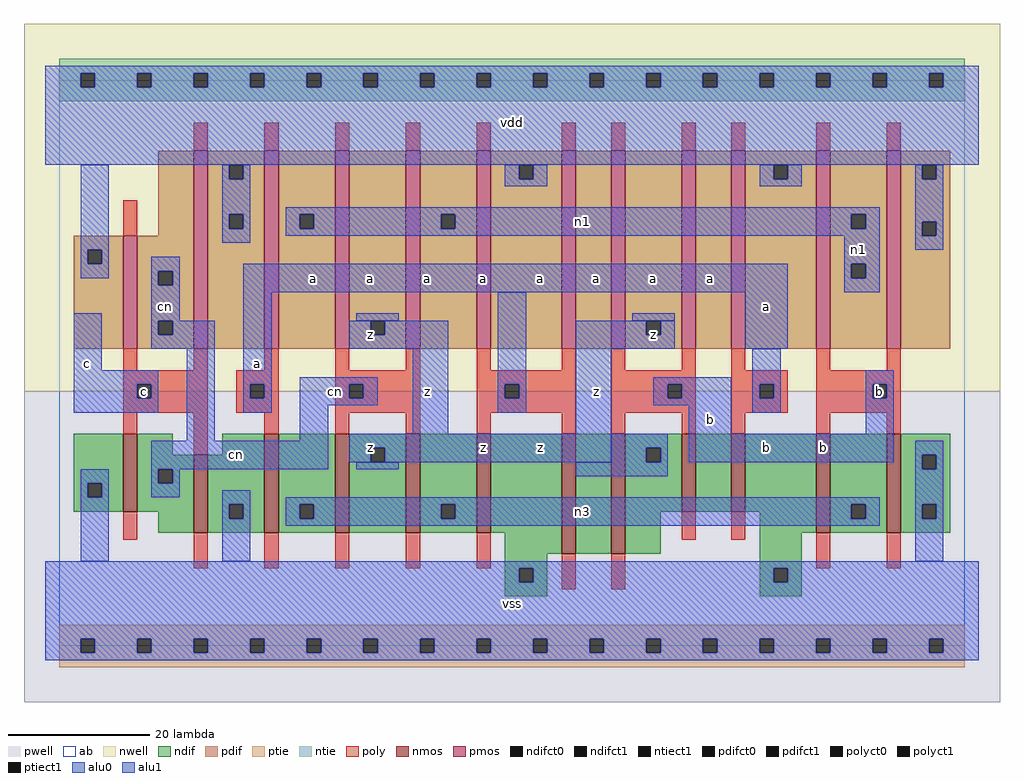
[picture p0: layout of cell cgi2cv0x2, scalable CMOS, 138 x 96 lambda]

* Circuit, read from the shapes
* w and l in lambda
.subckt cgi2cv0x2 a b c cn n1 n3 vdd vss z
M1 cn c vss vss nfet w=11 l=2 m=2
M2 n3 a vss vss nfet w=14 l=2 m=2
M3 z cn n3 vss nfet w=14 l=2 m=2
M4 n2 a vss vss nfet w=17 l=2
M5 z b n2 vss nfet w=17 l=2
M6 n4 b z vss nfet w=11 l=2
M7 vss a n4 vss nfet w=11 l=2
M8 n3 b vss vss nfet w=14 l=2 m=2
M9 cn c vdd vdd pfet w=16 l=2
M10 vdd c cn vdd pfet w=28 l=2
M11 n1 a vdd vdd pfet w=28 l=2 m=2
M12 z cn n1 vdd pfet w=28 l=2 m=2
M13 n5 a vdd vdd pfet w=28 l=2
M14 z b n5 vdd pfet w=28 l=2
M15 n6 b z vdd pfet w=28 l=2
M16 vdd a n6 vdd pfet w=28 l=2
M17 n1 b vdd vdd pfet w=28 l=2 m=2
.ends

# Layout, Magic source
magic
tech scmos
<< ab >>
rect 0 0 128 80
<< nwell >>
rect -5 36 133 88
<< pwell >>
rect -5 -8 133 36
<< poly >>
rect 19 70 21 74
rect 29 70 31 74
rect 39 70 41 74
rect 49 70 51 74
rect 59 70 61 74
rect 71 70 73 74
rect 78 70 80 74
rect 88 70 90 74
rect 95 70 97 74
rect 107 70 109 74
rect 117 70 119 74
rect 9 58 11 63
rect 9 39 11 42
rect 19 39 21 42
rect 29 39 31 42
rect 9 37 21 39
rect 9 35 11 37
rect 13 35 21 37
rect 9 33 21 35
rect 25 37 31 39
rect 25 35 27 37
rect 29 35 31 37
rect 25 33 31 35
rect 9 30 11 33
rect 19 27 21 33
rect 29 30 31 33
rect 39 39 41 42
rect 49 39 51 42
rect 39 37 51 39
rect 39 35 41 37
rect 43 35 51 37
rect 39 33 51 35
rect 39 30 41 33
rect 49 30 51 33
rect 59 39 61 42
rect 71 39 73 42
rect 59 37 73 39
rect 59 35 63 37
rect 65 35 73 37
rect 59 33 73 35
rect 59 30 61 33
rect 71 30 73 33
rect 78 39 80 42
rect 88 39 90 42
rect 78 37 90 39
rect 78 35 86 37
rect 88 35 90 37
rect 78 33 90 35
rect 78 30 80 33
rect 88 30 90 33
rect 95 39 97 42
rect 107 39 109 42
rect 117 39 119 42
rect 95 37 103 39
rect 95 35 99 37
rect 101 35 103 37
rect 95 33 103 35
rect 107 37 119 39
rect 107 35 115 37
rect 117 35 119 37
rect 107 33 119 35
rect 95 30 97 33
rect 107 30 109 33
rect 117 30 119 33
rect 9 15 11 19
rect 19 11 21 16
rect 29 11 31 16
rect 39 11 41 16
rect 49 11 51 16
rect 59 11 61 16
rect 88 15 90 19
rect 95 15 97 19
rect 71 8 73 13
rect 78 8 80 13
rect 107 11 109 16
rect 117 11 119 16
<< ndif >>
rect 2 23 9 30
rect 2 21 4 23
rect 6 21 9 23
rect 2 19 9 21
rect 11 27 16 30
rect 23 27 29 30
rect 11 25 19 27
rect 11 23 14 25
rect 16 23 19 25
rect 11 19 19 23
rect 14 16 19 19
rect 21 20 29 27
rect 21 18 24 20
rect 26 18 29 20
rect 21 16 29 18
rect 31 20 39 30
rect 31 18 34 20
rect 36 18 39 20
rect 31 16 39 18
rect 41 28 49 30
rect 41 26 44 28
rect 46 26 49 28
rect 41 16 49 26
rect 51 20 59 30
rect 51 18 54 20
rect 56 18 59 20
rect 51 16 59 18
rect 61 16 71 30
rect 63 13 71 16
rect 73 13 78 30
rect 80 28 88 30
rect 80 26 83 28
rect 85 26 88 28
rect 80 19 88 26
rect 90 19 95 30
rect 97 19 107 30
rect 80 13 85 19
rect 99 16 107 19
rect 109 20 117 30
rect 109 18 112 20
rect 114 18 117 20
rect 109 16 117 18
rect 119 27 126 30
rect 119 25 122 27
rect 124 25 126 27
rect 119 20 126 25
rect 119 18 122 20
rect 124 18 126 20
rect 119 16 126 18
rect 63 11 69 13
rect 63 9 65 11
rect 67 9 69 11
rect 63 7 69 9
rect 99 11 105 16
rect 99 9 101 11
rect 103 9 105 11
rect 99 7 105 9
<< pdif >>
rect 14 58 19 70
rect 2 56 9 58
rect 2 54 4 56
rect 6 54 9 56
rect 2 42 9 54
rect 11 53 19 58
rect 11 51 14 53
rect 16 51 19 53
rect 11 46 19 51
rect 11 44 14 46
rect 16 44 19 46
rect 11 42 19 44
rect 21 68 29 70
rect 21 66 24 68
rect 26 66 29 68
rect 21 61 29 66
rect 21 59 24 61
rect 26 59 29 61
rect 21 42 29 59
rect 31 61 39 70
rect 31 59 34 61
rect 36 59 39 61
rect 31 42 39 59
rect 41 46 49 70
rect 41 44 44 46
rect 46 44 49 46
rect 41 42 49 44
rect 51 61 59 70
rect 51 59 54 61
rect 56 59 59 61
rect 51 42 59 59
rect 61 68 71 70
rect 61 66 65 68
rect 67 66 71 68
rect 61 42 71 66
rect 73 42 78 70
rect 80 46 88 70
rect 80 44 83 46
rect 85 44 88 46
rect 80 42 88 44
rect 90 42 95 70
rect 97 68 107 70
rect 97 66 101 68
rect 103 66 107 68
rect 97 42 107 66
rect 109 61 117 70
rect 109 59 112 61
rect 114 59 117 61
rect 109 54 117 59
rect 109 52 112 54
rect 114 52 117 54
rect 109 42 117 52
rect 119 68 126 70
rect 119 66 122 68
rect 124 66 126 68
rect 119 60 126 66
rect 119 58 122 60
rect 124 58 126 60
rect 119 42 126 58
<< alu1 >>
rect -2 81 130 82
rect -2 79 3 81
rect 5 79 11 81
rect 13 79 19 81
rect 21 79 27 81
rect 29 79 35 81
rect 37 79 43 81
rect 45 79 51 81
rect 53 79 59 81
rect 61 79 67 81
rect 69 79 75 81
rect 77 79 83 81
rect 85 79 91 81
rect 93 79 99 81
rect 101 79 107 81
rect 109 79 115 81
rect 117 79 123 81
rect 125 79 130 81
rect -2 68 130 79
rect 2 39 6 47
rect 26 50 103 54
rect 2 37 14 39
rect 2 35 11 37
rect 13 35 14 37
rect 2 33 14 35
rect 26 37 30 50
rect 41 44 44 46
rect 46 44 55 46
rect 41 42 55 44
rect 26 35 27 37
rect 29 35 30 37
rect 26 33 30 35
rect 50 30 55 42
rect 73 44 83 46
rect 85 44 87 46
rect 73 42 87 44
rect 97 42 103 50
rect 73 30 78 42
rect 84 37 95 38
rect 84 35 86 37
rect 88 35 95 37
rect 84 34 95 35
rect 89 30 95 34
rect 114 37 118 39
rect 114 35 115 37
rect 117 35 118 37
rect 114 30 118 35
rect 41 28 78 30
rect 41 26 44 28
rect 46 26 78 28
rect 89 26 118 30
rect -2 11 130 12
rect -2 9 65 11
rect 67 9 101 11
rect 103 9 130 11
rect -2 1 130 9
rect -2 -1 3 1
rect 5 -1 11 1
rect 13 -1 19 1
rect 21 -1 27 1
rect 29 -1 35 1
rect 37 -1 43 1
rect 45 -1 51 1
rect 53 -1 59 1
rect 61 -1 67 1
rect 69 -1 75 1
rect 77 -1 83 1
rect 85 -1 91 1
rect 93 -1 99 1
rect 101 -1 107 1
rect 109 -1 115 1
rect 117 -1 123 1
rect 125 -1 130 1
rect -2 -2 130 -1
<< ptie >>
rect 0 1 128 3
rect 0 -1 3 1
rect 5 -1 11 1
rect 13 -1 19 1
rect 21 -1 27 1
rect 29 -1 35 1
rect 37 -1 43 1
rect 45 -1 51 1
rect 53 -1 59 1
rect 61 -1 67 1
rect 69 -1 75 1
rect 77 -1 83 1
rect 85 -1 91 1
rect 93 -1 99 1
rect 101 -1 107 1
rect 109 -1 115 1
rect 117 -1 123 1
rect 125 -1 128 1
rect 0 -3 128 -1
<< ntie >>
rect 0 81 128 83
rect 0 79 3 81
rect 5 79 11 81
rect 13 79 19 81
rect 21 79 27 81
rect 29 79 35 81
rect 37 79 43 81
rect 45 79 51 81
rect 53 79 59 81
rect 61 79 67 81
rect 69 79 75 81
rect 77 79 83 81
rect 85 79 91 81
rect 93 79 99 81
rect 101 79 107 81
rect 109 79 115 81
rect 117 79 123 81
rect 125 79 128 81
rect 0 77 128 79
<< nmos >>
rect 9 19 11 30
rect 19 16 21 27
rect 29 16 31 30
rect 39 16 41 30
rect 49 16 51 30
rect 59 16 61 30
rect 71 13 73 30
rect 78 13 80 30
rect 88 19 90 30
rect 95 19 97 30
rect 107 16 109 30
rect 117 16 119 30
<< pmos >>
rect 9 42 11 58
rect 19 42 21 70
rect 29 42 31 70
rect 39 42 41 70
rect 49 42 51 70
rect 59 42 61 70
rect 71 42 73 70
rect 78 42 80 70
rect 88 42 90 70
rect 95 42 97 70
rect 107 42 109 70
rect 117 42 119 70
<< polyct0 >>
rect 41 35 43 37
rect 63 35 65 37
rect 99 35 101 37
<< polyct1 >>
rect 11 35 13 37
rect 27 35 29 37
rect 86 35 88 37
rect 115 35 117 37
<< ndifct0 >>
rect 4 21 6 23
rect 14 23 16 25
rect 24 18 26 20
rect 34 18 36 20
rect 54 18 56 20
rect 83 26 85 28
rect 112 18 114 20
rect 122 25 124 27
rect 122 18 124 20
<< ndifct1 >>
rect 44 26 46 28
rect 65 9 67 11
rect 101 9 103 11
<< ntiect1 >>
rect 3 79 5 81
rect 11 79 13 81
rect 19 79 21 81
rect 27 79 29 81
rect 35 79 37 81
rect 43 79 45 81
rect 51 79 53 81
rect 59 79 61 81
rect 67 79 69 81
rect 75 79 77 81
rect 83 79 85 81
rect 91 79 93 81
rect 99 79 101 81
rect 107 79 109 81
rect 115 79 117 81
rect 123 79 125 81
<< ptiect1 >>
rect 3 -1 5 1
rect 11 -1 13 1
rect 19 -1 21 1
rect 27 -1 29 1
rect 35 -1 37 1
rect 43 -1 45 1
rect 51 -1 53 1
rect 59 -1 61 1
rect 67 -1 69 1
rect 75 -1 77 1
rect 83 -1 85 1
rect 91 -1 93 1
rect 99 -1 101 1
rect 107 -1 109 1
rect 115 -1 117 1
rect 123 -1 125 1
<< pdifct0 >>
rect 4 54 6 56
rect 14 51 16 53
rect 14 44 16 46
rect 24 66 26 68
rect 24 59 26 61
rect 34 59 36 61
rect 54 59 56 61
rect 65 66 67 68
rect 101 66 103 68
rect 112 59 114 61
rect 112 52 114 54
rect 122 66 124 68
rect 122 58 124 60
<< pdifct1 >>
rect 44 44 46 46
rect 83 44 85 46
<< alu0 >>
rect 3 56 7 68
rect 23 66 24 68
rect 26 66 27 68
rect 23 61 27 66
rect 63 66 65 68
rect 67 66 69 68
rect 63 65 69 66
rect 99 66 101 68
rect 103 66 105 68
rect 99 65 105 66
rect 121 66 122 68
rect 124 66 125 68
rect 23 59 24 61
rect 26 59 27 61
rect 23 57 27 59
rect 32 61 116 62
rect 32 59 34 61
rect 36 59 54 61
rect 56 59 112 61
rect 114 59 116 61
rect 32 58 116 59
rect 3 54 4 56
rect 6 54 7 56
rect 3 52 7 54
rect 13 53 17 55
rect 111 54 116 58
rect 121 60 125 66
rect 121 58 122 60
rect 124 58 125 60
rect 121 56 125 58
rect 13 51 14 53
rect 16 51 17 53
rect 13 46 17 51
rect 111 52 112 54
rect 114 52 116 54
rect 111 50 116 52
rect 13 44 14 46
rect 16 44 22 46
rect 13 42 22 44
rect 18 29 22 42
rect 42 46 48 47
rect 34 37 45 38
rect 34 35 41 37
rect 43 35 45 37
rect 34 34 45 35
rect 34 29 38 34
rect 62 37 66 50
rect 81 46 87 47
rect 62 35 63 37
rect 65 35 66 37
rect 62 33 66 35
rect 98 37 102 42
rect 98 35 99 37
rect 101 35 102 37
rect 98 33 102 35
rect 13 25 38 29
rect 78 28 86 30
rect 78 26 83 28
rect 85 26 86 28
rect 121 27 125 29
rect 42 25 48 26
rect 3 23 7 25
rect 3 21 4 23
rect 6 21 7 23
rect 13 23 14 25
rect 16 23 17 25
rect 73 24 86 26
rect 121 25 122 27
rect 124 25 125 27
rect 13 21 17 23
rect 3 12 7 21
rect 23 20 27 22
rect 23 18 24 20
rect 26 18 27 20
rect 23 12 27 18
rect 32 20 116 21
rect 32 18 34 20
rect 36 18 54 20
rect 56 18 112 20
rect 114 18 116 20
rect 32 17 116 18
rect 121 20 125 25
rect 121 18 122 20
rect 124 18 125 20
rect 121 12 125 18
<< labels >>
rlabel alu0 15 48 15 48 6 cn
rlabel alu0 39 36 39 36 6 cn
rlabel alu0 25 27 25 27 6 cn
rlabel alu0 74 19 74 19 6 n3
rlabel alu0 113 56 113 56 6 n1
rlabel alu0 74 60 74 60 6 n1
rlabel alu1 4 40 4 40 6 c
rlabel polyct1 12 36 12 36 6 c
rlabel alu1 44 28 44 28 6 z
rlabel alu1 28 40 28 40 6 a
rlabel alu1 44 44 44 44 6 z
rlabel alu1 36 52 36 52 6 a
rlabel alu1 44 52 44 52 6 a
rlabel alu1 64 6 64 6 6 vss
rlabel alu1 60 28 60 28 6 z
rlabel alu1 68 28 68 28 6 z
rlabel alu1 52 36 52 36 6 z
rlabel alu1 60 52 60 52 6 a
rlabel alu1 68 52 68 52 6 a
rlabel alu1 52 52 52 52 6 a
rlabel alu1 64 74 64 74 6 vdd
rlabel alu1 100 28 100 28 6 b
rlabel alu1 92 32 92 32 6 b
rlabel alu1 76 36 76 36 6 z
rlabel alu1 84 44 84 44 6 z
rlabel alu1 100 48 100 48 6 a
rlabel alu1 84 52 84 52 6 a
rlabel alu1 92 52 92 52 6 a
rlabel alu1 76 52 76 52 6 a
rlabel alu1 108 28 108 28 6 b
rlabel polyct1 116 36 116 36 6 b
<< end >>
